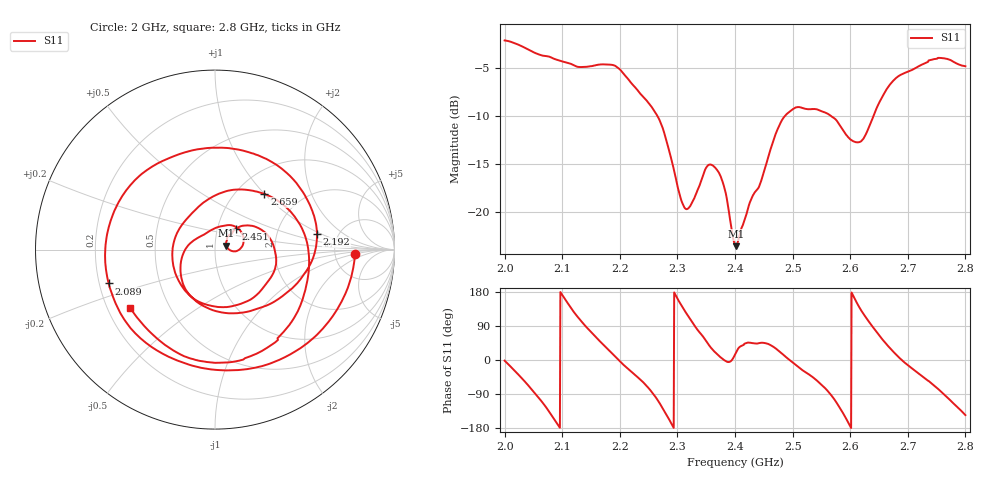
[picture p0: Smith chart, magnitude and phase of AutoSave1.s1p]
!Agilent N9923A: A.05.17
!Date: Sunday, 01 January 2006 12:08:31
!Model: N9923A
!Serial: MY50371189
!CHECKSUM:1952336060
!Correction: S11(ON U)
!S1P File: Measurement: S11:
# Hz S DB R 50
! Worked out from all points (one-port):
!   1001 points, 2 GHz to 2.8 GHz, reference 50 ohm
!   lowest |S11| = -23.6 dB at 2.402 GHz (marker M1), VSWR 1.14, Z = 56.6 + j2.45 ohm
!   |S11| at or under -10 dB: 2.265 GHz to 2.487 GHz (221.8 MHz wide, 9.33 % of centre); 2.566 GHz to 2.641 GHz (74.39 MHz wide, 2.86 % of centre)
!   S11 on the Smith chart (normalised r, x): 2 GHz: 7.98, -0.96; 2.089 GHz: 0.24, -0.15; 2.192 GHz: 3.45, +0.91; 2.451 GHz: 1.23, +0.29; 2.659 GHz: 1.33, +1.00; 2.8 GHz: 0.30, -0.29
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2e9  -2.16 -1.7
2.0216e9  -2.54 -34.8
2.048e9  -3.31 -79.2
2.0688e9  -3.76 -118.2
2.0888e9  -4.13 -162.3
2.1e9  -4.33 171.9
2.1192e9  -4.71 128.7
2.1408e9  -4.91 88.8
2.1632e9  -4.68 53.0
2.192e9  -4.80 8.8
2.2e9  -5.16 -3.5
2.252e9  -8.80 -77.8
2.2768e9  -11.72 -133.8
2.3e9  -17.28 162.2
2.3176e9  -19.69 118.5
2.3648e9  -15.35 21.4
2.4e9  -23.45 14.0
2.4016e9  -23.58 19.0
2.4512e9  -15.63 44.8
2.5e9  -9.33 -6.2
2.5616e9  -9.81 -83.0
2.6e9  -12.44 -174.7
2.636e9  -10.70 93.8
2.6592e9  -7.65 48.4
2.7e9  -5.40 -13.7
2.728e9  -4.57 -46.2
2.756e9  -3.97 -81.0
2.8e9  -4.84 -145.4
